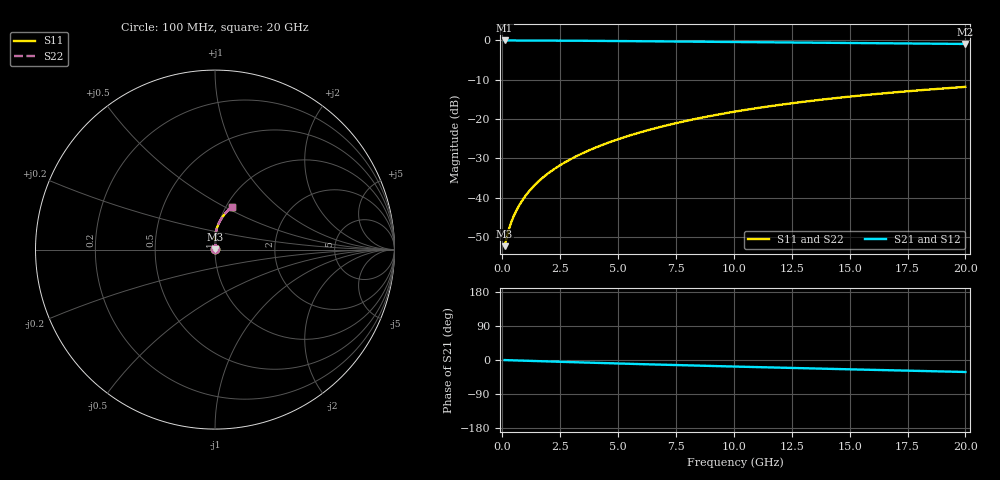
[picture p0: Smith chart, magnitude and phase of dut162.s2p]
! Touchstone file exported from HFSS 2024.1.0
!  File:  C:/UserFiles/LocalFiles/RDL_TSV_Batchsim/temp_RDL_top_162_1778685520.aedt
!  Generated:  11:20:47 PM May 13, 2026
!  Design:  RDL_top
!  Project:  temp_RDL_top_162_1778685520
!  Setup:  Setup1
!  Solution:  Sweep
! Variables:
!  dtsv = 10.80580581um
!  hbump = 3um
!  htsv = 56.14um
!  ldown = 100um
!  lrdl = 481.33um
!  p = 40
!  p1 = 44.5um
!  rhole = 1um
!  t = 450um
!  tdown = 3.915915916um
!  trdl = 3.69um
!  wdown = 15.38538539um
!  wrdl = 25um
# GHz S MA R 50.000000
! Terminal data exported
! Port[1] = Box2_T1
! Port[2] = Box2_T2
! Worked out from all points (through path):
!   200 points, 100 MHz to 20 GHz, reference 50 ohm
!   highest |S21| = -0.02 dB at 100 MHz (marker M1); lowest = -0.9 dB at 20 GHz (marker M2)
!   group delay of S21, straight-line fit = 4.33 ps
!   lowest |S11| = -52.4 dB at 100 MHz (marker M3), VSWR 1.00, Z = 50.2 + j0.121 ohm
!   |S11| at or under -10 dB: start of sweep to end of sweep
!   |S22| runs from -52.4 to -11.8 dB; largest |S21 - S12| = 3.1e-15
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0.1  0.002404 30.2  0.9979 -0.2  0.9979 -0.2  0.002404 30.2
! Gamma 0 0 0 0
! Port Impedance 50 0 50 0
0.2  0.003212 46.3  0.9977 -0.4  0.9977 -0.4  0.003212 46.3
0.3  0.004089 55.0  0.9976 -0.6  0.9976 -0.6  0.004089 55.0
0.4  0.004968 60.7  0.9974 -0.8  0.9974 -0.8  0.004968 60.7
0.5  0.005854 64.9  0.9972 -1.0  0.9972 -1.0  0.005854 64.9
0.6  0.006753 68.2  0.9971 -1.2  0.9971 -1.2  0.006753 68.2
0.8  0.008596 73.1  0.9968 -1.6  0.9968 -1.6  0.008596 73.1
1  0.01049 76.5  0.9965 -1.9  0.9965 -1.9  0.01049 76.4
1.2  0.01243 78.9  0.9961 -2.3  0.9961 -2.3  0.01243 78.9
1.7  0.01742 83.0  0.995 -3.3  0.995 -3.3  0.01742 83.0
2.2  0.02261 85.5  0.9936 -4.2  0.9936 -4.2  0.02261 85.5
2.8  0.02908 87.4  0.9915 -5.3  0.9915 -5.3  0.02908 87.4
3.5  0.03699 88.7  0.9885 -6.6  0.9885 -6.6  0.03699 88.7
4.2  0.04527 89.4  0.9852 -7.8  0.9852 -7.8  0.04527 89.4
5  0.05517 89.6  0.9811 -9.2  0.9811 -9.2  0.05516 89.6
6.8  0.07881 88.7  0.9711 -12.2  0.9711 -12.2  0.0788 88.7
8.4  0.1009 86.9  0.962 -14.8  0.962 -14.8  0.1009 86.9
10.1  0.1248 84.5  0.9525 -17.4  0.9525 -17.4  0.1247 84.5
11.7  0.1472 81.9  0.9438 -19.8  0.9438 -19.8  0.1472 81.9
13.4  0.1708 79.1  0.9348 -22.3  0.9348 -22.3  0.1708 79.1
16.7  0.2149 73.5  0.9177 -27.0  0.9177 -27.0  0.2148 73.5
20  0.2561 68.2  0.9009 -31.6  0.9009 -31.6  0.256 68.2
